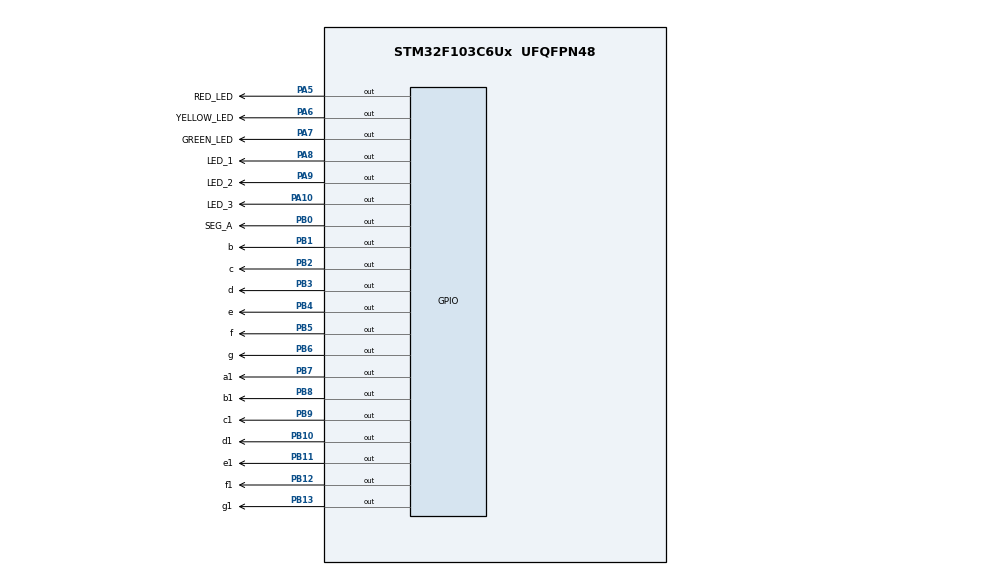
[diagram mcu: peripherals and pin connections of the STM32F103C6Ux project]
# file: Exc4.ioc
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Mcu.Family=STM32F1
Mcu.Name=STM32F103C6Ux
Mcu.Package=UFQFPN48
NVIC.PriorityGroup=NVIC_PRIORITYGROUP_4
PA10.GPIO_Label=LED_3
PA10.Signal=GPIO_Output
PA5.GPIO_Label=RED_LED
PA5.Signal=GPIO_Output
PA6.GPIO_Label=YELLOW_LED
PA6.Signal=GPIO_Output
PA7.GPIO_Label=GREEN_LED
PA7.Signal=GPIO_Output
PA8.GPIO_Label=LED_1
PA8.Signal=GPIO_Output
PA9.GPIO_Label=LED_2
PA9.Signal=GPIO_Output
PB0.GPIO_Label=SEG_A
PB0.Signal=GPIO_Output
PB1.GPIO_Label=b
PB1.Signal=GPIO_Output
PB10.GPIO_Label=d1
PB10.Signal=GPIO_Output
PB11.GPIO_Label=e1
PB11.Signal=GPIO_Output
PB12.GPIO_Label=f1
PB12.Signal=GPIO_Output
PB13.GPIO_Label=g1
PB13.Signal=GPIO_Output
PB2.GPIO_Label=c
PB2.Signal=GPIO_Output
PB3.GPIO_Label=d
PB3.Signal=GPIO_Output
PB4.GPIO_Label=e
PB4.Signal=GPIO_Output
PB5.GPIO_Label=f
PB5.Signal=GPIO_Output
PB6.GPIO_Label=g
PB6.Signal=GPIO_Output
PB7.GPIO_Label=a1
PB7.Signal=GPIO_Output
PB8.GPIO_Label=b1
PB8.Signal=GPIO_Output
PB9.GPIO_Label=c1
PB9.Signal=GPIO_Output
ProjectManager.HeapSize=0x200
ProjectManager.StackSize=0x400
ProjectManager.TargetToolchain=STM32CubeIDE
RCC.APB1Freq_Value=8000000
RCC.APB2Freq_Value=8000000
VP_SYS_VS_ND.Mode=No_Debug
board=custom

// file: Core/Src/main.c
/* USER CODE BEGIN Header */
/**
  ******************************************************************************
  * @file           : main.c
  * @brief          : Main program body
  ******************************************************************************
  * @attention
  *
  * <h2><center>&copy; Copyright (c) 2026 STMicroelectronics.
  * All rights reserved.</center></h2>
  *
  * This software component is licensed by ST under BSD 3-Clause license,
  * the "License"; You may not use this file except in compliance with the
  * License. You may obtain a copy of the License at:
  *                        opensource.org/licenses/BSD-3-Clause
  *
  ******************************************************************************
  */
/* USER CODE END Header */
#include "main.h"

void SystemClock_Config(void);
static void MX_GPIO_Init(void);

/* USER CODE BEGIN 0 */
void display7SEG(int num) {
    HAL_GPIO_WritePin(SEG_A_GPIO_Port, SEG_A_Pin, GPIO_PIN_SET);
    HAL_GPIO_WritePin(b_GPIO_Port, b_Pin, GPIO_PIN_SET);
    HAL_GPIO_WritePin(c_GPIO_Port, c_Pin, GPIO_PIN_SET);
    HAL_GPIO_WritePin(d_GPIO_Port, d_Pin, GPIO_PIN_SET);
    HAL_GPIO_WritePin(e_GPIO_Port, e_Pin, GPIO_PIN_SET);
    HAL_GPIO_WritePin(f_GPIO_Port, f_Pin, GPIO_PIN_SET);
    HAL_GPIO_WritePin(g_GPIO_Port, g_Pin, GPIO_PIN_SET);

    switch (num) {
        case 0:
            HAL_GPIO_WritePin(SEG_A_GPIO_Port, SEG_A_Pin, GPIO_PIN_RESET);
            HAL_GPIO_WritePin(b_GPIO_Port, b_Pin, GPIO_PIN_RESET);
            HAL_GPIO_WritePin(c_GPIO_Port, c_Pin, GPIO_PIN_RESET);
            HAL_GPIO_WritePin(d_GPIO_Port, d_Pin, GPIO_PIN_RESET);
            HAL_GPIO_WritePin(e_GPIO_Port, e_Pin, GPIO_PIN_RESET);
            HAL_GPIO_WritePin(f_GPIO_Port, f_Pin, GPIO_PIN_RESET);
            break;

        case 1:
            HAL_GPIO_WritePin(b_GPIO_Port, b_Pin, GPIO_PIN_RESET);
            HAL_GPIO_WritePin(c_GPIO_Port, c_Pin, GPIO_PIN_RESET);
            break;

        case 2:
            HAL_GPIO_WritePin(SEG_A_GPIO_Port, SEG_A_Pin, GPIO_PIN_RESET);
            HAL_GPIO_WritePin(b_GPIO_Port, b_Pin, GPIO_PIN_RESET);
            HAL_GPIO_WritePin(d_GPIO_Port, d_Pin, GPIO_PIN_RESET);
            HAL_GPIO_WritePin(e_GPIO_Port, e_Pin, GPIO_PIN_RESET);
            HAL_GPIO_WritePin(g_GPIO_Port, g_Pin, GPIO_PIN_RESET);
            break;

        case 3:
            HAL_GPIO_WritePin(SEG_A_GPIO_Port, SEG_A_Pin, GPIO_PIN_RESET);
            HAL_GPIO_WritePin(b_GPIO_Port, b_Pin, GPIO_PIN_RESET);
            HAL_GPIO_WritePin(c_GPIO_Port, c_Pin, GPIO_PIN_RESET);
            HAL_GPIO_WritePin(d_GPIO_Port, d_Pin, GPIO_PIN_RESET);
            HAL_GPIO_WritePin(g_GPIO_Port, g_Pin, GPIO_PIN_RESET);
            break;

        case 4:
            HAL_GPIO_WritePin(b_GPIO_Port, b_Pin, GPIO_PIN_RESET);
            HAL_GPIO_WritePin(c_GPIO_Port, c_Pin, GPIO_PIN_RESET);
            HAL_GPIO_WritePin(f_GPIO_Port, f_Pin, GPIO_PIN_RESET);
            HAL_GPIO_WritePin(g_GPIO_Port, g_Pin, GPIO_PIN_RESET);
            break;

        case 5:
            HAL_GPIO_WritePin(SEG_A_GPIO_Port, SEG_A_Pin, GPIO_PIN_RESET);
            HAL_GPIO_WritePin(c_GPIO_Port, c_Pin, GPIO_PIN_RESET);
            HAL_GPIO_WritePin(d_GPIO_Port, d_Pin, GPIO_PIN_RESET);
            HAL_GPIO_WritePin(f_GPIO_Port, f_Pin, GPIO_PIN_RESET);
            HAL_GPIO_WritePin(g_GPIO_Port, g_Pin, GPIO_PIN_RESET);
            break;

        case 6:
            HAL_GPIO_WritePin(SEG_A_GPIO_Port, SEG_A_Pin, GPIO_PIN_RESET);
            HAL_GPIO_WritePin(c_GPIO_Port, c_Pin, GPIO_PIN_RESET);
            HAL_GPIO_WritePin(d_GPIO_Port, d_Pin, GPIO_PIN_RESET);
            HAL_GPIO_WritePin(e_GPIO_Port, e_Pin, GPIO_PIN_RESET);
            HAL_GPIO_WritePin(f_GPIO_Port, f_Pin, GPIO_PIN_RESET);
            HAL_GPIO_WritePin(g_GPIO_Port, g_Pin, GPIO_PIN_RESET);
            break;

        case 7:
            HAL_GPIO_WritePin(SEG_A_GPIO_Port, SEG_A_Pin, GPIO_PIN_RESET);
            HAL_GPIO_WritePin(b_GPIO_Port, b_Pin, GPIO_PIN_RESET);
            HAL_GPIO_WritePin(c_GPIO_Port, c_Pin, GPIO_PIN_RESET);
            break;

        case 8:
            HAL_GPIO_WritePin(SEG_A_GPIO_Port, SEG_A_Pin, GPIO_PIN_RESET);
            HAL_GPIO_WritePin(b_GPIO_Port, b_Pin, GPIO_PIN_RESET);
            HAL_GPIO_WritePin(c_GPIO_Port, c_Pin, GPIO_PIN_RESET);
            HAL_GPIO_WritePin(d_GPIO_Port, d_Pin, GPIO_PIN_RESET);
            HAL_GPIO_WritePin(e_GPIO_Port, e_Pin, GPIO_PIN_RESET);
            HAL_GPIO_WritePin(f_GPIO_Port, f_Pin, GPIO_PIN_RESET);
            HAL_GPIO_WritePin(g_GPIO_Port, g_Pin, GPIO_PIN_RESET);
            break;

        case 9:
            HAL_GPIO_WritePin(SEG_A_GPIO_Port, SEG_A_Pin, GPIO_PIN_RESET);
            HAL_GPIO_WritePin(b_GPIO_Port, b_Pin, GPIO_PIN_RESET);
            HAL_GPIO_WritePin(c_GPIO_Port, c_Pin, GPIO_PIN_RESET);
            HAL_GPIO_WritePin(d_GPIO_Port, d_Pin, GPIO_PIN_RESET);
            HAL_GPIO_WritePin(f_GPIO_Port, f_Pin, GPIO_PIN_RESET);
            HAL_GPIO_WritePin(g_GPIO_Port, g_Pin, GPIO_PIN_RESET);
            break;

        default:
            break;
    }
}

/* USER CODE END 0 */

int main(void)
{

  /* MCU Configuration--------------------------------------------------------*/

  /* Reset of all peripherals, Initializes the Flash interface and the Systick. */
  HAL_Init();

  /* Configure the system clock */
  SystemClock_Config();

  /* Initialize all configured peripherals */
  MX_GPIO_Init();

  /* Infinite loop */
  /* USER CODE BEGIN WHILE */
  HAL_GPIO_WritePin(GREEN_LED_GPIO_Port, GREEN_LED_Pin,GPIO_PIN_SET);
  HAL_GPIO_WritePin(YELLOW_LED_GPIO_Port, YELLOW_LED_Pin,GPIO_PIN_SET);
  HAL_GPIO_WritePin(RED_LED_GPIO_Port, RED_LED_Pin,GPIO_PIN_SET);
  HAL_GPIO_WritePin(LED_1_GPIO_Port, LED_1_Pin,GPIO_PIN_SET);
  HAL_GPIO_WritePin(LED_2_GPIO_Port, LED_2_Pin,GPIO_PIN_SET);
  HAL_GPIO_WritePin(LED_3_GPIO_Port, LED_3_Pin,GPIO_PIN_SET);
  int counter = 0;

  while (1)
  {

    /* USER CODE END WHILE */
	  HAL_GPIO_WritePin(GREEN_LED_GPIO_Port, GREEN_LED_Pin,GPIO_PIN_RESET);
	  	  	  HAL_GPIO_WritePin(LED_1_GPIO_Port, LED_1_Pin,GPIO_PIN_RESET);
	  	  	  counter = 3;
	  	  	  while(counter > 0){
	  	  		  display7SEG(counter--);
	  	  		  HAL_Delay(1000);
	  	  	  }
	  	  	  HAL_GPIO_WritePin(GREEN_LED_GPIO_Port, GREEN_LED_Pin,GPIO_PIN_SET);
	  	  	  HAL_GPIO_WritePin(YELLOW_LED_GPIO_Port, YELLOW_LED_Pin,GPIO_PIN_RESET);
	  	  	  counter = 2;
	  	  	  while(counter > 0){
	  	 		  display7SEG(counter--);
	   	  		  HAL_Delay(1000);
	  	  	  }
	  	  	  HAL_GPIO_WritePin(YELLOW_LED_GPIO_Port, YELLOW_LED_Pin,GPIO_PIN_SET);
	  	  	  HAL_GPIO_WritePin(LED_1_GPIO_Port, LED_1_Pin,GPIO_PIN_SET);
	  	  	  HAL_GPIO_WritePin(RED_LED_GPIO_Port, RED_LED_Pin,GPIO_PIN_RESET);
	  	  	  HAL_GPIO_WritePin(LED_3_GPIO_Port, LED_3_Pin,GPIO_PIN_RESET);
	  	  	  counter = 5;
	  	  	  while(counter > 2){
	  	  		  display7SEG(counter--);
	  	  		  HAL_Delay(1000);
	  	  	  }
	  	  	  HAL_GPIO_WritePin(LED_3_GPIO_Port, LED_3_Pin,GPIO_PIN_SET);
	  	  	  HAL_GPIO_WritePin(LED_2_GPIO_Port, LED_2_Pin,GPIO_PIN_RESET);
	  	  	  while(counter > 0){
	  	  		   display7SEG(counter--);
	  	  		   HAL_Delay(1000);
	  	  	  }
	  	  	  HAL_GPIO_WritePin(LED_2_GPIO_Port, LED_2_Pin,GPIO_PIN_SET);
	  	  	  HAL_GPIO_WritePin(RED_LED_GPIO_Port, RED_LED_Pin,GPIO_PIN_SET);
  }
}

void SystemClock_Config(void)
{
  RCC_OscInitTypeDef RCC_OscInitStruct = {0};
  RCC_ClkInitTypeDef RCC_ClkInitStruct = {0};

  /** Initializes the RCC Oscillators according to the specified parameters
  * in the RCC_OscInitTypeDef structure.
  */
  RCC_OscInitStruct.OscillatorType = RCC_OSCILLATORTYPE_HSI;
  RCC_OscInitStruct.HSIState = RCC_HSI_ON;
  RCC_OscInitStruct.HSICalibrationValue = RCC_HSICALIBRATION_DEFAULT;
  RCC_OscInitStruct.PLL.PLLState = RCC_PLL_NONE;
  if (HAL_RCC_OscConfig(&RCC_OscInitStruct) != HAL_OK)
  {
    Error_Handler();
  }
  /** Initializes the CPU, AHB and APB buses clocks
  */
  RCC_ClkInitStruct.ClockType = RCC_CLOCKTYPE_HCLK|RCC_CLOCKTYPE_SYSCLK
                              |RCC_CLOCKTYPE_PCLK1|RCC_CLOCKTYPE_PCLK2;
  RCC_ClkInitStruct.SYSCLKSource = RCC_SYSCLKSOURCE_HSI;
  RCC_ClkInitStruct.AHBCLKDivider = RCC_SYSCLK_DIV1;
  RCC_ClkInitStruct.APB1CLKDivider = RCC_HCLK_DIV1;
  RCC_ClkInitStruct.APB2CLKDivider = RCC_HCLK_DIV1;

  if (HAL_RCC_ClockConfig(&RCC_ClkInitStruct, FLASH_LATENCY_0) != HAL_OK)
  {
    Error_Handler();
  }
}

static void MX_GPIO_Init(void)
{
  GPIO_InitTypeDef GPIO_InitStruct = {0};

  /* GPIO Ports Clock Enable */
  __HAL_RCC_GPIOA_CLK_ENABLE();
  __HAL_RCC_GPIOB_CLK_ENABLE();

  /*Configure GPIO pin Output Level */
  HAL_GPIO_WritePin(GPIOA, RED_LED_Pin|YELLOW_LED_Pin|GREEN_LED_Pin|LED_1_Pin
                          |LED_2_Pin|LED_3_Pin, GPIO_PIN_RESET);

  /*Configure GPIO pin Output Level */
  HAL_GPIO_WritePin(GPIOB, SEG_A_Pin|b_Pin|c_Pin|d1_Pin
                          |e1_Pin|f1_Pin|g1_Pin|d_Pin
                          |e_Pin|f_Pin|g_Pin|a1_Pin
                          |b1_Pin|c1_Pin, GPIO_PIN_RESET);

  /*Configure GPIO pins : RED_LED_Pin YELLOW_LED_Pin GREEN_LED_Pin LED_1_Pin
                           LED_2_Pin LED_3_Pin */
  GPIO_InitStruct.Pin = RED_LED_Pin|YELLOW_LED_Pin|GREEN_LED_Pin|LED_1_Pin
                          |LED_2_Pin|LED_3_Pin;
  GPIO_InitStruct.Mode = GPIO_MODE_OUTPUT_PP;
  GPIO_InitStruct.Pull = GPIO_NOPULL;
  GPIO_InitStruct.Speed = GPIO_SPEED_FREQ_LOW;
  HAL_GPIO_Init(GPIOA, &GPIO_InitStruct);

  /*Configure GPIO pins : SEG_A_Pin b_Pin c_Pin d1_Pin
                           e1_Pin f1_Pin g1_Pin d_Pin
                           e_Pin f_Pin g_Pin a1_Pin
                           b1_Pin c1_Pin */
  GPIO_InitStruct.Pin = SEG_A_Pin|b_Pin|c_Pin|d1_Pin
                          |e1_Pin|f1_Pin|g1_Pin|d_Pin
                          |e_Pin|f_Pin|g_Pin|a1_Pin
                          |b1_Pin|c1_Pin;
  GPIO_InitStruct.Mode = GPIO_MODE_OUTPUT_PP;
  GPIO_InitStruct.Pull = GPIO_NOPULL;
  GPIO_InitStruct.Speed = GPIO_SPEED_FREQ_LOW;
  HAL_GPIO_Init(GPIOB, &GPIO_InitStruct);

}

void Error_Handler(void)
{
  __disable_irq();
  while (1)
  {
  }
}

/************************ (C) COPYRIGHT STMicroelectronics *****END OF FILE****/
